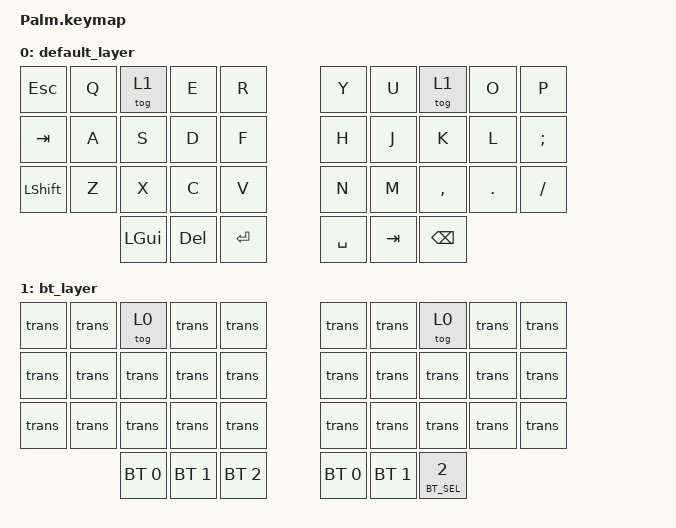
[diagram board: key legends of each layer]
#include <behaviors.dtsi>
#include <dt-bindings/zmk/keys.h>
#include <dt-bindings/zmk/bt.h>

/{

    keymap {
        compatible = "zmk,keymap";

        default_layer {
            bindings = <
                    &kp ESC    &kp Q    &tog 1    &kp E     &kp R        &kp Y     &kp U     &tog 1     &kp O     &kp P
                    &kp TAB    &kp A    &kp S    &kp D     &kp F        &kp H     &kp J     &kp K     &kp L     &kp SEMI
                    &kp LSHIFT &kp Z    &kp X    &kp C     &kp V        &kp N     &kp M     &kp COMMA &kp DOT   &kp FSLH
                    &kp LGUI  &kp DEL   &kp RET                         &kp SPACE &kp TAB   &kp BSPC  
            >;
            >;
        };
    
        bt_layer {
            bindings = <
                    &kp trans   &kp trans   &tog 0   &kp trans   &kp trans       &kp trans   &kp trans   &tog 0   &kp trans   &kp trans
                    &kp trans   &kp trans   &kp trans   &kp trans   &kp trans       &kp trans   &kp trans   &kp trans   &kp trans   &kp trans   
                    &kp trans   &kp trans   &kp trans   &kp trans   &kp trans       &kp trans   &kp trans   &kp trans   &kp trans   &kp trans
                    &bt BT_SEL 0    &bt BT_SEL 1    &bt BT_SEL 2                    &bt BT_SEL 0    &bt BT_SEL 1    &BT_SEL 2
            >;
        };
    
    
    
    };

};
